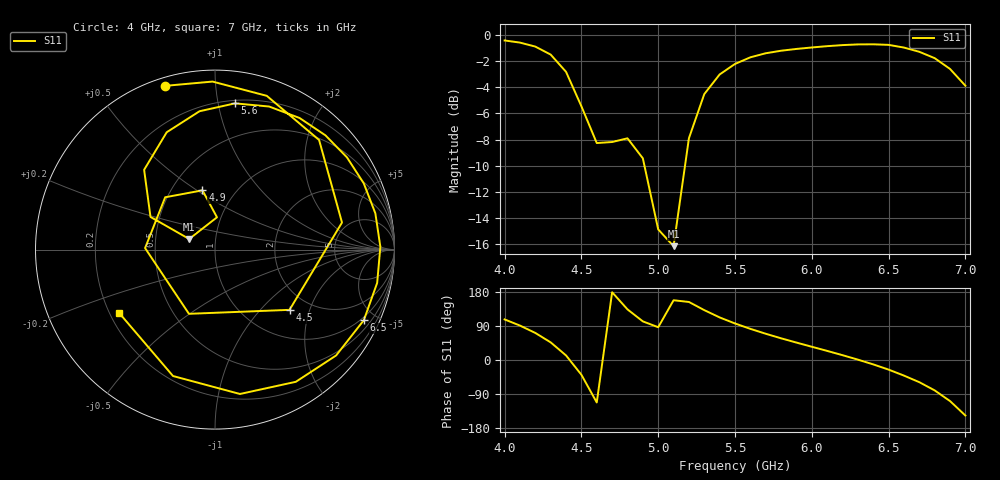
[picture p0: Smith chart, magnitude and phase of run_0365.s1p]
! Touchstone file exported from HFSS 2024.2.0
!  File:  C:/Users/wsak9/Desktop/Sim Fast/Widenad Patch/WP_AI_V1_sweep.aedt
!  Generated:  06:32:48 AM Oct 14, 2026
!  Design:  A1_model
!  Project:  WP_AI_V1_sweep
!  Setup:  Setup1
!  Solution:  Sweep
! Variables:
!  Air_gap = 2.69mm
!  Curve_Amp1 = 2.78
!  Curve_len1 = 1
!  Curve_pos = 11.315mm
!  Extra = 0.73mm
!  H_sub = 0.79mm
!  L_Patch = 18.63mm
!  L_Patch1 = 15.58mm
!  Sx = 0.57mm
!  Sy = 3.5mm
!  WS = 0.37mm
!  W_Patch = 14.17mm
!  W_Patch1 = 14.85mm
!Data is not renormalized
# GHz S MA
! Terminal data exported
! Port[1] = 1
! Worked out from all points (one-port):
!   31 points, 4 GHz to 7 GHz, reference per port
!   lowest |S11| = -16.2 dB at 5.1 GHz (marker M1), VSWR 1.37
!   |S11| at or under -10 dB: 4.91 GHz to 5.175 GHz (264.2 MHz wide, 5.24 % of centre)
!   S11 on the Smith chart (normalised r, x): 4 GHz: 0.04, +0.74; 4.5 GHz: 1.57, -1.48; 4.9 GHz: 0.71, +0.53; 5.6 GHz: 0.22, +1.12; 6.5 GHz: 0.86, -4.28; 7 GHz: 0.24, -0.28
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4  0.9542 107.1
4.1  0.9362 90.8
4.2  0.9039 71.4
4.3  0.8423 46.5
4.4  0.7234 12.0
4.5  0.5339 -39.0
4.6  0.3861 -112.1
4.7  0.3896 178.8
4.8  0.4025 133.6
4.9  0.3374 101.9
5  0.1803 86.5
5.1  0.1555 157.7
5.2  0.4028 153.1
5.3  0.5946 131.6
5.4  0.707 112.4
5.5  0.7757 96.4
5.6  0.8223 82.2
5.7  0.8523 69.3
5.9  0.8854 46.0
6.1  0.9073 24.0
6.3  0.9214 1.0
6.4  0.9223 -11.6
6.5  0.9178 -25.4
6.6  0.8962 -41.2
6.7  0.8633 -58.6
6.8  0.8164 -80.2
6.9  0.7422 -108.4
7  0.6401 -146.5
